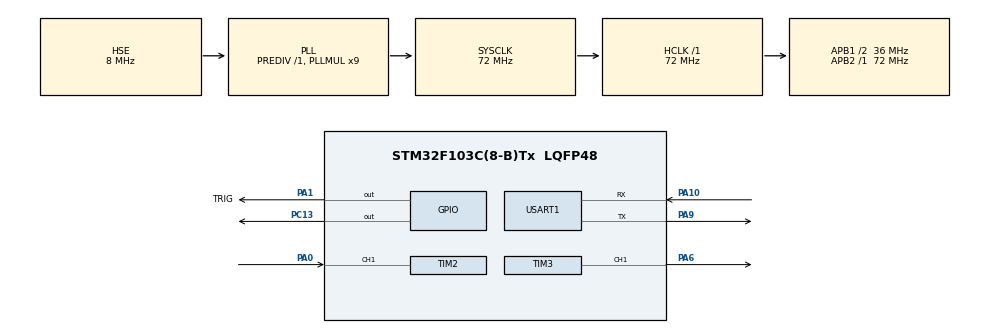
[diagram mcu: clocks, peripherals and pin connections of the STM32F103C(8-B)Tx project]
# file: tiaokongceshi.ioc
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Mcu.Family=STM32F1
Mcu.Name=STM32F103C(8-B)Tx
Mcu.Package=LQFP48
NVIC.PriorityGroup=NVIC_PRIORITYGROUP_4
NVIC.TIM2_IRQn=true\:0\:0\:false\:false\:true\:true\:true\:true
NVIC.USART1_IRQn=true\:1\:0\:true\:false\:true\:true\:true\:true
PA0-WKUP.Signal=S_TIM2_CH1_ETR
PA1.GPIO_Label=TRIG
PA1.Signal=GPIO_Output
PA10.Mode=Asynchronous
PA10.Signal=USART1_RX
PA13.Mode=Serial_Wire
PA13.Signal=SYS_JTMS-SWDIO
PA14.Mode=Serial_Wire
PA14.Signal=SYS_JTCK-SWCLK
PA6.Signal=S_TIM3_CH1
PA9.Mode=Asynchronous
PA9.Signal=USART1_TX
PC13-TAMPER-RTC.Signal=GPIO_Output
PD0-OSC_IN.Mode=HSE-External-Oscillator
PD0-OSC_IN.Signal=RCC_OSC_IN
PD1-OSC_OUT.Mode=HSE-External-Oscillator
PD1-OSC_OUT.Signal=RCC_OSC_OUT
ProjectManager.HeapSize=0x200
ProjectManager.StackSize=0x400
ProjectManager.TargetToolchain=MDK-ARM V5
RCC.AHBFreq_Value=72000000
RCC.APB1CLKDivider=RCC_HCLK_DIV2
RCC.APB1Freq_Value=36000000
RCC.APB1TimFreq_Value=72000000
RCC.APB2Freq_Value=72000000
RCC.APB2TimFreq_Value=72000000
RCC.HCLKFreq_Value=72000000
RCC.PLLMUL=RCC_PLL_MUL9
RCC.PLLSourceVirtual=RCC_PLLSOURCE_HSE
RCC.SYSCLKFreq_VALUE=72000000
RCC.SYSCLKSource=RCC_SYSCLKSOURCE_PLLCLK
RCC.USBFreq_Value=72000000
SH.S_TIM2_CH1_ETR.0=TIM2_CH1,Input_Capture1_from_TI1
SH.S_TIM3_CH1.0=TIM3_CH1,PWM Generation1 CH1
TIM2.AutoReloadPreload=TIM_AUTORELOAD_PRELOAD_ENABLE
TIM2.Channel-Input_Capture1_from_TI1=TIM_CHANNEL_1
TIM2.Period=99
TIM2.Prescaler=71
TIM3.Channel-PWM\ Generation1\ CH1=TIM_CHANNEL_1
TIM3.Period=999
TIM3.Prescaler=719
TIM3.Pulse-PWM\ Generation1\ CH1=500
USART1.VirtualMode=VM_ASYNC
VP_TIM2_VS_ClockSourceINT.Mode=Internal
VP_TIM3_VS_ClockSourceINT.Mode=Internal
board=custom

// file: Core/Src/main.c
/* USER CODE BEGIN Header */
/**
  ******************************************************************************
  * @file           : main.c
  * @brief          : Main program body
  ******************************************************************************
  * @attention
  *
  * Copyright (c) 2022 STMicroelectronics.
  * All rights reserved.
  *
  * This software is licensed under terms that can be found in the LICENSE file
  * in the root directory of this software component.
  * If no LICENSE file comes with this software, it is provided AS-IS.
  *
  ******************************************************************************
  */
/* USER CODE END Header */
#include "main.h"
#include "tim.h"
#include "usart.h"
#include "gpio.h"

/* USER CODE BEGIN Includes */
#include "stdio.h"
/* USER CODE END Includes */

/* USER CODE BEGIN PV */
void delay_us(uint16_t us)
{
	__HAL_TIM_SET_COUNTER (&htim2 ,0);
	while(__HAL_TIM_GET_COUNTER (&htim2 )<us );
}

uint16_t HCSR04_Read(void )
{
	HAL_GPIO_WritePin (TRIG_GPIO_Port ,TRIG_Pin ,GPIO_PIN_RESET );
	delay_us (2);
	HAL_GPIO_WritePin (TRIG_GPIO_Port ,TRIG_Pin ,GPIO_PIN_SET );
	delay_us (12);
	HAL_GPIO_WritePin (TRIG_GPIO_Port ,TRIG_Pin ,GPIO_PIN_RESET );
	__HAL_TIM_ENABLE_IT (&htim2 ,TIM_IT_CC3 );
//	HAL_TIM_IC_Start_IT(&htim2,TIM_CHANNEL_3);
	HAL_Delay (100);
}
/* USER CODE END PV */

void SystemClock_Config(void);

/* USER CODE BEGIN 0 */
	uint32_t capture_Buf[3];
	uint8_t capture_Cnt = 0;
	uint8_t overload_Cnt = 0;
	uint32_t high_time;
	uint32_t low_time;
	double HL_time;
	double LL_time;
	double fre;
	double duty;

		int fputc(int ch,FILE *f)
	{
		uint8_t temp[1] = {ch};
		HAL_UART_Transmit(&huart1, temp, 1, 2);
		return ch;
	}
	int fgetc(FILE *f)
	{
		uint8_t ch=0;
		HAL_UART_Receive  (&huart1 ,(uint8_t *)&ch,1,0xffff);
		return ch;
	}
	int pwm_val = 500;
/* USER CODE END 0 */

int main(void)
{

  /* MCU Configuration--------------------------------------------------------*/

  /* Reset of all peripherals, Initializes the Flash interface and the Systick. */
  HAL_Init();

  /* Configure the system clock */
  SystemClock_Config();

  /* Initialize all configured peripherals */
  MX_GPIO_Init();
  MX_TIM2_Init();
  MX_TIM3_Init();
  MX_USART1_UART_Init();
  /* USER CODE BEGIN 2 */
	HAL_TIM_Base_Start_IT(&htim2);
	HAL_TIM_PWM_Start(&htim3,TIM_CHANNEL_1);
	__HAL_TIM_SET_CAPTUREPOLARITY(&htim2, TIM_CHANNEL_1,TIM_INPUTCHANNELPOLARITY_RISING);//在运行时设置输入极性
	HAL_TIM_IC_Start_IT(&htim2,TIM_CHANNEL_1);//在中断模式下启动TIM Input Capture测量。

  /* USER CODE END 2 */

  /* Infinite loop */
  /* USER CODE BEGIN WHILE */
  while (1)
  {
		HCSR04_Read();
		printf("32e324");
		printf("high_time = %7.3d,  HL_time = %7.3lf",high_time, HL_time);
		printf("\r\n");
		HAL_Delay(500);
    /* USER CODE END WHILE */

  }
}

void SystemClock_Config(void)
{
  RCC_OscInitTypeDef RCC_OscInitStruct = {0};
  RCC_ClkInitTypeDef RCC_ClkInitStruct = {0};

  /** Initializes the RCC Oscillators according to the specified parameters
  * in the RCC_OscInitTypeDef structure.
  */
  RCC_OscInitStruct.OscillatorType = RCC_OSCILLATORTYPE_HSE;
  RCC_OscInitStruct.HSEState = RCC_HSE_ON;
  RCC_OscInitStruct.HSEPredivValue = RCC_HSE_PREDIV_DIV1;
  RCC_OscInitStruct.HSIState = RCC_HSI_ON;
  RCC_OscInitStruct.PLL.PLLState = RCC_PLL_ON;
  RCC_OscInitStruct.PLL.PLLSource = RCC_PLLSOURCE_HSE;
  RCC_OscInitStruct.PLL.PLLMUL = RCC_PLL_MUL9;
  if (HAL_RCC_OscConfig(&RCC_OscInitStruct) != HAL_OK)
  {
    Error_Handler();
  }

  /** Initializes the CPU, AHB and APB buses clocks
  */
  RCC_ClkInitStruct.ClockType = RCC_CLOCKTYPE_HCLK|RCC_CLOCKTYPE_SYSCLK
                              |RCC_CLOCKTYPE_PCLK1|RCC_CLOCKTYPE_PCLK2;
  RCC_ClkInitStruct.SYSCLKSource = RCC_SYSCLKSOURCE_PLLCLK;
  RCC_ClkInitStruct.AHBCLKDivider = RCC_SYSCLK_DIV1;
  RCC_ClkInitStruct.APB1CLKDivider = RCC_HCLK_DIV2;
  RCC_ClkInitStruct.APB2CLKDivider = RCC_HCLK_DIV1;

  if (HAL_RCC_ClockConfig(&RCC_ClkInitStruct, FLASH_LATENCY_2) != HAL_OK)
  {
    Error_Handler();
  }
}

/* USER CODE BEGIN 4 */
void HAL_TIM_PeriodElapsedCallback(TIM_HandleTypeDef *htim)
{
	if(htim -> Instance == htim2.Instance)
	{
		overload_Cnt++;
	}
}

void HAL_TIM_IC_CaptureCallback(TIM_HandleTypeDef *htim)
{
	if(htim -> Instance == htim2.Instance)
	{
		switch(capture_Cnt)
		{
			case 0:
				capture_Buf[0] = HAL_TIM_ReadCapturedValue(&htim2, TIM_CHANNEL_1);
			  __HAL_TIM_SET_COUNTER (&htim2, 0);
			  __HAL_TIM_SET_CAPTUREPOLARITY(&htim2, TIM_CHANNEL_1, TIM_ICPOLARITY_FALLING);
			  capture_Cnt++;
				break;
			case 1:
				capture_Buf[1] = HAL_TIM_ReadCapturedValue(&htim2,TIM_CHANNEL_1);
				__HAL_TIM_SET_CAPTUREPOLARITY(&htim2, TIM_CHANNEL_1, TIM_ICPOLARITY_RISING);

				HAL_TIM_IC_Stop_IT(&htim2,TIM_CHANNEL_1);//中断模式下停止输入捕获的测量

				high_time = capture_Buf[1] + overload_Cnt * 99;

			  HL_time = high_time * 0.001;

			  capture_Cnt = 0;
			  overload_Cnt = 0;
				HAL_TIM_IC_Start_IT(&htim2,TIM_CHANNEL_1);////在中断模式下启动TIM Input Capture测量。
		    break;
		}
	}
}
/* USER CODE END 4 */

void Error_Handler(void)
{
  __disable_irq();
  while (1)
  {
  }
}
